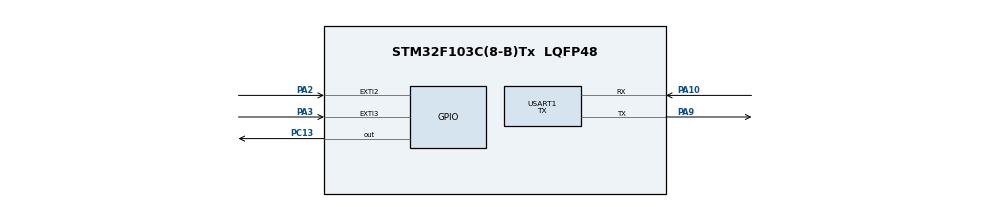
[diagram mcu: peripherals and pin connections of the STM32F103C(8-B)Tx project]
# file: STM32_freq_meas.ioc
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Mcu.Family=STM32F1
Mcu.Name=STM32F103C(8-B)Tx
Mcu.Package=LQFP48
NVIC.EXTI2_IRQn=true\:0\:0\:false\:false\:true\:true\:true
NVIC.EXTI3_IRQn=true\:0\:0\:false\:false\:true\:true\:true
NVIC.PriorityGroup=NVIC_PRIORITYGROUP_4
PA10.Mode=Asynchronous
PA10.Signal=USART1_RX
PA2.Signal=GPXTI2
PA3.Signal=GPXTI3
PA9.Mode=Asynchronous
PA9.Signal=USART1_TX
PC13-TAMPER-RTC.Signal=GPIO_Output
ProjectManager.HeapSize=0x200
ProjectManager.StackSize=0x400
ProjectManager.TargetToolchain=Makefile
RCC.APB1Freq_Value=8000000
RCC.APB2Freq_Value=8000000
TIM2.CounterMode=TIM_COUNTERMODE_UP
TIM2.Period=36000
TIM2.Prescaler=2000
USART1.Mode=MODE_TX
USART1.VirtualMode=VM_ASYNC
VP_SYS_VS_ND.Mode=No_Debug
VP_TIM2_VS_ClockSourceINT.Mode=Internal
board=custom

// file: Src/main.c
/* USER CODE BEGIN Header */
/**
  ******************************************************************************
  * @file           : main.c
  * @brief          : Main program body
  ******************************************************************************
  ** This notice applies to any and all portions of this file
  * that are not between comment pairs USER CODE BEGIN and
  * USER CODE END. Other portions of this file, whether
  * inserted by the user or by software development tools
  * are owned by their respective copyright owners.
  *
  * COPYRIGHT(c) 2018 STMicroelectronics
  *
  * Redistribution and use in source and binary forms, with or without modification,
  * are permitted provided that the following conditions are met:
  *   1. Redistributions of source code must retain the above copyright notice,
  *      this list of conditions and the following disclaimer.
  *   2. Redistributions in binary form must reproduce the above copyright notice,
  *      this list of conditions and the following disclaimer in the documentation
  *      and/or other materials provided with the distribution.
  *   3. Neither the name of STMicroelectronics nor the names of its contributors
  *      may be used to endorse or promote products derived from this software
  *      without specific prior written permission.
  *
  * THIS SOFTWARE IS PROVIDED BY THE COPYRIGHT HOLDERS AND CONTRIBUTORS "AS IS"
  * AND ANY EXPRESS OR IMPLIED WARRANTIES, INCLUDING, BUT NOT LIMITED TO, THE
  * IMPLIED WARRANTIES OF MERCHANTABILITY AND FITNESS FOR A PARTICULAR PURPOSE ARE
  * DISCLAIMED. IN NO EVENT SHALL THE COPYRIGHT HOLDER OR CONTRIBUTORS BE LIABLE
  * FOR ANY DIRECT, INDIRECT, INCIDENTAL, SPECIAL, EXEMPLARY, OR CONSEQUENTIAL
  * DAMAGES (INCLUDING, BUT NOT LIMITED TO, PROCUREMENT OF SUBSTITUTE GOODS OR
  * SERVICES; LOSS OF USE, DATA, OR PROFITS; OR BUSINESS INTERRUPTION) HOWEVER
  * CAUSED AND ON ANY THEORY OF LIABILITY, WHETHER IN CONTRACT, STRICT LIABILITY,
  * OR TORT (INCLUDING NEGLIGENCE OR OTHERWISE) ARISING IN ANY WAY OUT OF THE USE
  * OF THIS SOFTWARE, EVEN IF ADVISED OF THE POSSIBILITY OF SUCH DAMAGE.
  *
  ******************************************************************************
  */
/* USER CODE END Header */

#include "main.h"

TIM_HandleTypeDef htim2;

UART_HandleTypeDef huart1;

/* USER CODE BEGIN PV */
long pin2p, pin3p, pin2t, pin3t;
/* USER CODE END PV */

void SystemClock_Config(void);
static void MX_GPIO_Init(void);
static void MX_USART1_UART_Init(void);
static void MX_TIM2_Init(void);

int main(void)
{

  /* MCU Configuration--------------------------------------------------------*/

  /* Reset of all peripherals, Initializes the Flash interface and the Systick. */
  HAL_Init();

  /* Configure the system clock */
  SystemClock_Config();

  /* Initialize all configured peripherals */
  MX_GPIO_Init();
  MX_USART1_UART_Init();
  MX_TIM2_Init();

  /* Infinite loop */
  while (1)
  {
//      long pin2c = __HAL_TIM_GET_COUNTER(&htim2);
//      unsigned char data[4];
//      data[0] = (pin2c>>0) & 0xFF;
//      data[1] = (pin2c>>8) & 0xFF;
//      data[2] = (pin2c>>16) & 0xFF;
//      data[3] = (pin2c>>24) & 0xFF;
//      //unsigned char data[] = {pin2c>>24, (pin2c>>16)&0x0FF, (pin2c>>8)&0x0FF, pin2p&0x0FF};
//      HAL_UART_Transmit(&huart1, data, 4, 1000);
  }
}

void SystemClock_Config(void)
{
  RCC_OscInitTypeDef RCC_OscInitStruct = {0};
  RCC_ClkInitTypeDef RCC_ClkInitStruct = {0};

  /**Initializes the CPU, AHB and APB busses clocks
  */
  RCC_OscInitStruct.OscillatorType = RCC_OSCILLATORTYPE_HSI;
  RCC_OscInitStruct.HSIState = RCC_HSI_ON;
  RCC_OscInitStruct.HSICalibrationValue = RCC_HSICALIBRATION_DEFAULT;
  RCC_OscInitStruct.PLL.PLLState = RCC_PLL_NONE;
  if (HAL_RCC_OscConfig(&RCC_OscInitStruct) != HAL_OK)
  {
    Error_Handler();
  }
  /**Initializes the CPU, AHB and APB busses clocks
  */
  RCC_ClkInitStruct.ClockType = RCC_CLOCKTYPE_HCLK|RCC_CLOCKTYPE_SYSCLK
                              |RCC_CLOCKTYPE_PCLK1|RCC_CLOCKTYPE_PCLK2;
  RCC_ClkInitStruct.SYSCLKSource = RCC_SYSCLKSOURCE_HSI;
  RCC_ClkInitStruct.AHBCLKDivider = RCC_SYSCLK_DIV1;
  RCC_ClkInitStruct.APB1CLKDivider = RCC_HCLK_DIV1;
  RCC_ClkInitStruct.APB2CLKDivider = RCC_HCLK_DIV1;

  if (HAL_RCC_ClockConfig(&RCC_ClkInitStruct, FLASH_LATENCY_0) != HAL_OK)
  {
    Error_Handler();
  }
}

static void MX_TIM2_Init(void)
{

  TIM_ClockConfigTypeDef sClockSourceConfig = {0};
  TIM_MasterConfigTypeDef sMasterConfig = {0};

  htim2.Instance = TIM2;
  htim2.Init.Prescaler = 200;
  htim2.Init.CounterMode = TIM_COUNTERMODE_UP;
  htim2.Init.Period = 40000;
  htim2.Init.ClockDivision = TIM_CLOCKDIVISION_DIV1;
  htim2.Init.AutoReloadPreload = TIM_AUTORELOAD_PRELOAD_DISABLE;
  if (HAL_TIM_Base_Init(&htim2) != HAL_OK)
  {
    Error_Handler();
  }
  sClockSourceConfig.ClockSource = TIM_CLOCKSOURCE_INTERNAL;
  if (HAL_TIM_ConfigClockSource(&htim2, &sClockSourceConfig) != HAL_OK)
  {
    Error_Handler();
  }
  sMasterConfig.MasterOutputTrigger = TIM_TRGO_RESET;
  sMasterConfig.MasterSlaveMode = TIM_MASTERSLAVEMODE_DISABLE;
  if (HAL_TIMEx_MasterConfigSynchronization(&htim2, &sMasterConfig) != HAL_OK)
  {
    Error_Handler();
  }
  /* USER CODE BEGIN TIM2_Init 2 */
    HAL_TIM_Base_Start(&htim2);
  /* USER CODE END TIM2_Init 2 */

}

static void MX_USART1_UART_Init(void)
{

  huart1.Instance = USART1;
  huart1.Init.BaudRate = 115200;
  huart1.Init.WordLength = UART_WORDLENGTH_8B;
  huart1.Init.StopBits = UART_STOPBITS_1;
  huart1.Init.Parity = UART_PARITY_NONE;
  huart1.Init.Mode = UART_MODE_TX;
  huart1.Init.HwFlowCtl = UART_HWCONTROL_NONE;
  huart1.Init.OverSampling = UART_OVERSAMPLING_16;
  if (HAL_UART_Init(&huart1) != HAL_OK)
  {
    Error_Handler();
  }

}

static void MX_GPIO_Init(void)
{
  GPIO_InitTypeDef GPIO_InitStruct = {0};

  /* GPIO Ports Clock Enable */
  __HAL_RCC_GPIOC_CLK_ENABLE();
  __HAL_RCC_GPIOA_CLK_ENABLE();

  /*Configure GPIO pin Output Level */
  HAL_GPIO_WritePin(GPIOC, GPIO_PIN_13, GPIO_PIN_RESET);

  /*Configure GPIO pin : PC13 */
  GPIO_InitStruct.Pin = GPIO_PIN_13;
  GPIO_InitStruct.Mode = GPIO_MODE_OUTPUT_PP;
  GPIO_InitStruct.Pull = GPIO_NOPULL;
  GPIO_InitStruct.Speed = GPIO_SPEED_FREQ_LOW;
  HAL_GPIO_Init(GPIOC, &GPIO_InitStruct);

  /*Configure GPIO pins : PA2 PA3 */
  GPIO_InitStruct.Pin = GPIO_PIN_2|GPIO_PIN_3;
  GPIO_InitStruct.Mode = GPIO_MODE_IT_RISING;
  GPIO_InitStruct.Pull = GPIO_NOPULL;
  HAL_GPIO_Init(GPIOA, &GPIO_InitStruct);

  /* EXTI interrupt init*/
  HAL_NVIC_SetPriority(EXTI2_IRQn, 0, 0);
  HAL_NVIC_EnableIRQ(EXTI2_IRQn);

  HAL_NVIC_SetPriority(EXTI3_IRQn, 0, 0);
  HAL_NVIC_EnableIRQ(EXTI3_IRQn);

}

void Error_Handler(void)
{
}

/******************************************************************************/
/* STM32F1xx Peripheral Interrupt Handlers                                    */
/* Add here the Interrupt Handlers for the used peripherals.                  */
/* For the available peripheral interrupt handler names,                      */
/* please refer to the startup file (startup_stm32f1xx.s).                    */
/******************************************************************************/

/**
  * @brief This function handles EXTI line2 interrupt.
  */
void EXTI2_IRQHandler(void)
{
    /* USER CODE BEGIN EXTI2_IRQn 0 */
    long pin2c = __HAL_TIM_GET_COUNTER(&htim2);
    if (pin2c > pin2t) pin2p = pin2c-pin2t;
    else pin2p = pin2c-pin2t+40000;
    long val = pin2p * 25;
    pin2t = pin2c;
    unsigned char data[10];
    data[0] = (pin2c>>8) & 0xFF;
    data[1] = (pin2c>>0) & 0xFF;
    data[2] = 255;
    data[3] = (pin2p>>8) & 0xFF;
    data[4] = (pin2p>>0) & 0xFF;
    data[5] = 255;
    data[6] = (val>>8) & 0xFF;
    data[7] = (val>>0) & 0xFF;
    data[8] = 255;
    data[9] = 255;
    HAL_UART_Transmit(&huart1, data, sizeof(data), 1000);
    HAL_GPIO_TogglePin(GPIOC, GPIO_PIN_13);
    /* USER CODE END EXTI2_IRQn 0 */
    HAL_GPIO_EXTI_IRQHandler(GPIO_PIN_2);
}

/**
  * @brief This function handles EXTI line3 interrupt.
  */
void EXTI3_IRQHandler(void)
{
    HAL_GPIO_EXTI_IRQHandler(GPIO_PIN_3);
}

/************************ (C) COPYRIGHT STMicroelectronics *****END OF FILE****/
